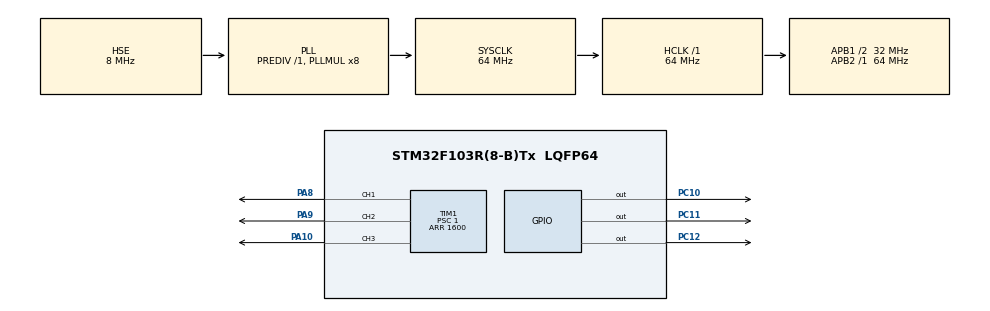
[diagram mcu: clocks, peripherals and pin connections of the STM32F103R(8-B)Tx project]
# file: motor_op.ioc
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Mcu.Family=STM32F1
Mcu.Name=STM32F103R(8-B)Tx
Mcu.Package=LQFP64
NVIC.PriorityGroup=NVIC_PRIORITYGROUP_4
NVIC.TIM2_IRQn=true\:0\:0\:false\:false\:true\:true\:true\:true
PA10.Signal=S_TIM1_CH3
PA13.Mode=Serial_Wire
PA13.Signal=SYS_JTMS-SWDIO
PA14.Mode=Serial_Wire
PA14.Signal=SYS_JTCK-SWCLK
PA8.Signal=S_TIM1_CH1
PA9.Signal=S_TIM1_CH2
PC10.GPIO_PuPd=GPIO_PULLDOWN
PC10.Signal=GPIO_Output
PC11.GPIO_PuPd=GPIO_PULLDOWN
PC11.Signal=GPIO_Output
PC12.GPIO_PuPd=GPIO_PULLDOWN
PC12.Signal=GPIO_Output
PC14-OSC32_IN.Mode=LSE-External-Oscillator
PC14-OSC32_IN.Signal=RCC_OSC32_IN
PC15-OSC32_OUT.Mode=LSE-External-Oscillator
PC15-OSC32_OUT.Signal=RCC_OSC32_OUT
PD0-OSC_IN.Mode=HSE-External-Clock-Source
PD0-OSC_IN.Signal=RCC_OSC_IN
PD1-OSC_OUT.Mode=HSE-External-Clock-Source
PD1-OSC_OUT.Signal=RCC_OSC_OUT
ProjectManager.HeapSize=0x200
ProjectManager.StackSize=0x400
ProjectManager.TargetToolchain=MDK-ARM V5.32
RCC.AHBFreq_Value=64000000
RCC.APB1CLKDivider=RCC_HCLK_DIV2
RCC.APB1Freq_Value=32000000
RCC.APB1TimFreq_Value=64000000
RCC.APB2Freq_Value=64000000
RCC.APB2TimFreq_Value=64000000
RCC.HCLKFreq_Value=64000000
RCC.PLLMUL=RCC_PLL_MUL8
RCC.PLLSourceVirtual=RCC_PLLSOURCE_HSE
RCC.SYSCLKFreq_VALUE=64000000
RCC.SYSCLKSource=RCC_SYSCLKSOURCE_PLLCLK
RCC.USBFreq_Value=64000000
SH.S_TIM1_CH1.0=TIM1_CH1,PWM Generation1 CH1
SH.S_TIM1_CH2.0=TIM1_CH2,PWM Generation2 CH2
SH.S_TIM1_CH3.0=TIM1_CH3,PWM Generation3 CH3
TIM1.Channel-PWM\ Generation1\ CH1=TIM_CHANNEL_1
TIM1.Channel-PWM\ Generation2\ CH2=TIM_CHANNEL_2
TIM1.Channel-PWM\ Generation3\ CH3=TIM_CHANNEL_3
TIM1.CounterMode=TIM_COUNTERMODE_CENTERALIGNED1
TIM1.Period=1600
TIM1.Prescaler=1
TIM1.Pulse-PWM\ Generation1\ CH1=800
TIM1.Pulse-PWM\ Generation2\ CH2=800
TIM1.Pulse-PWM\ Generation3\ CH3=800
TIM2.Period=12698
VP_TIM1_VS_ClockSourceINT.Mode=Internal
VP_TIM2_VS_ClockSourceINT.Mode=Internal
board=custom

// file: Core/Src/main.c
/* USER CODE BEGIN Header */
/**
  ******************************************************************************
  * @file           : main.c
  * @brief          : Main program body
  ******************************************************************************
  * @attention
  *
  * Copyright (c) 2023 STMicroelectronics.
  * All rights reserved.
  *
  * This software is licensed under terms that can be found in the LICENSE file
  * in the root directory of this software component.
  * If no LICENSE file comes with this software, it is provided AS-IS.
  *
  ******************************************************************************
  */
/* USER CODE END Header */
#include "main.h"
#include "tim.h"
#include "gpio.h"

/* USER CODE BEGIN Includes */
//#include "IQmathLib.h"
#include "foc.h"
/* USER CODE END Includes */

void SystemClock_Config(void);

/* USER CODE BEGIN 0 */
void HAL_TIM_PeriodElapsedCallback(TIM_HandleTypeDef *htim)
{
	if(htim->Instance == TIM2){
		static float theta = 0;
		Svpwm(0,10,theta,24,3200);
		theta += 0.01745329f;
		if(theta > 6.28){
			theta = 0;
		}
	}
}
/* USER CODE END 0 */

int main(void)
{

  /* MCU Configuration--------------------------------------------------------*/

  /* Reset of all peripherals, Initializes the Flash interface and the Systick. */
  HAL_Init();

  /* Configure the system clock */
  SystemClock_Config();

  /* Initialize all configured peripherals */
  MX_GPIO_Init();
  MX_TIM1_Init();
  MX_TIM2_Init();
  /* USER CODE BEGIN 2 */
  //EN1 EN2 EN3 三个半桥使能
  HAL_GPIO_WritePin(GPIOC,GPIO_PIN_10,GPIO_PIN_SET);
  HAL_GPIO_WritePin(GPIOC,GPIO_PIN_11,GPIO_PIN_SET);
  HAL_GPIO_WritePin(GPIOC,GPIO_PIN_12,GPIO_PIN_SET);

  HAL_TIM_PWM_Start(&htim1,TIM_CHANNEL_1);
  HAL_TIM_PWM_Start(&htim1,TIM_CHANNEL_2);
  HAL_TIM_PWM_Start(&htim1,TIM_CHANNEL_3);
  HAL_TIM_Base_Start_IT(&htim2);
  /* USER CODE END 2 */

  /* Infinite loop */
  while (1)
  {

  }
}

void SystemClock_Config(void)
{
  RCC_OscInitTypeDef RCC_OscInitStruct = {0};
  RCC_ClkInitTypeDef RCC_ClkInitStruct = {0};

  /** Initializes the RCC Oscillators according to the specified parameters
  * in the RCC_OscInitTypeDef structure.
  */
  RCC_OscInitStruct.OscillatorType = RCC_OSCILLATORTYPE_HSE;
  RCC_OscInitStruct.HSEState = RCC_HSE_BYPASS;
  RCC_OscInitStruct.HSEPredivValue = RCC_HSE_PREDIV_DIV1;
  RCC_OscInitStruct.HSIState = RCC_HSI_ON;
  RCC_OscInitStruct.PLL.PLLState = RCC_PLL_ON;
  RCC_OscInitStruct.PLL.PLLSource = RCC_PLLSOURCE_HSE;
  RCC_OscInitStruct.PLL.PLLMUL = RCC_PLL_MUL8;
  if (HAL_RCC_OscConfig(&RCC_OscInitStruct) != HAL_OK)
  {
    Error_Handler();
  }

  /** Initializes the CPU, AHB and APB buses clocks
  */
  RCC_ClkInitStruct.ClockType = RCC_CLOCKTYPE_HCLK|RCC_CLOCKTYPE_SYSCLK
                              |RCC_CLOCKTYPE_PCLK1|RCC_CLOCKTYPE_PCLK2;
  RCC_ClkInitStruct.SYSCLKSource = RCC_SYSCLKSOURCE_PLLCLK;
  RCC_ClkInitStruct.AHBCLKDivider = RCC_SYSCLK_DIV1;
  RCC_ClkInitStruct.APB1CLKDivider = RCC_HCLK_DIV2;
  RCC_ClkInitStruct.APB2CLKDivider = RCC_HCLK_DIV1;

  if (HAL_RCC_ClockConfig(&RCC_ClkInitStruct, FLASH_LATENCY_2) != HAL_OK)
  {
    Error_Handler();
  }
}

void Error_Handler(void)
{
  __disable_irq();
  while (1)
  {
  }
}
